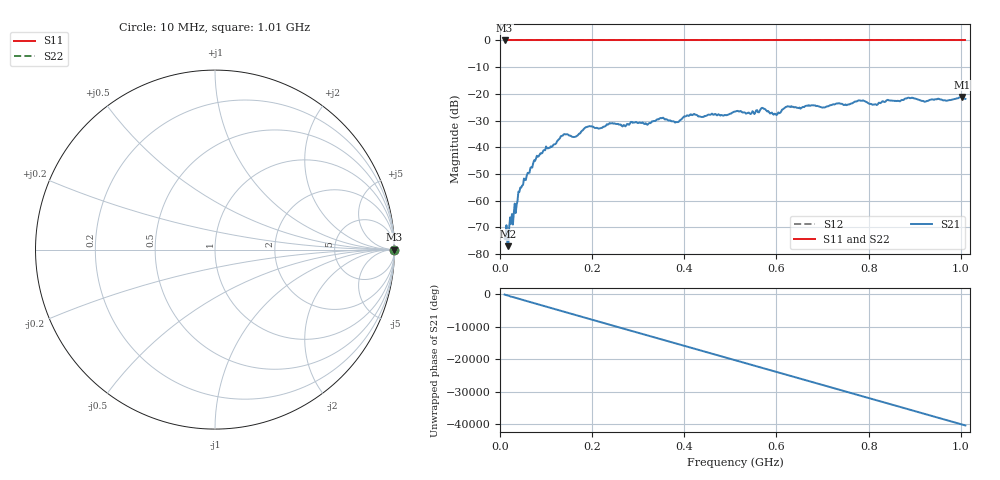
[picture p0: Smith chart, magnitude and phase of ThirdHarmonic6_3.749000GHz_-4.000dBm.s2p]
! 8/17/2025 12:51:07 PM
! C:\ANRITSUVNA\TEMP\TEMP.S2P
! CHANNEL.1
! TR.MEASUREMENT
! RAW.DATA
! RF.CORRECTION.OFF
! AVERAGING.OFF
! IF.BANDWIDTH: 5KHZ
! SWEEPTYPE:  FREQ.SWEEP(Linear)
! Reference Plane Port Info
! PORT:  PORT1  PORT2
! DISTANCE:  0  m  0  m
! TIME:  0  s  0  s
! PHASE.OFFSET:  0  deg.  0  deg.
! LOSS:  0  dB  0  dB
! REF.LOSS:  0  dB  0  dB
! REF.FREQ:  0  Hz  0  Hz
! Power Info
! POWER:  -20  dBm  -20  dBm
! EFF.POWER:  -20  dBm  -20  dBm
! SOURCE.ATTEN:  0  dB  0  dB
! TEST.ATTEN:  0  dB  0  dB
# GHZ S RI R 50.0
! FREQ.GHZ  S11RE  S11IM  S21RE  S21IM  S12RE  S12IM  S22RE  S22IM
!; PortSelection: Port_12
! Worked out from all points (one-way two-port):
!   501 points, 10 MHz to 1.01 GHz, reference 50 ohm
!   highest |S21| = -21.21 dB at 1.002 GHz (marker M1); lowest = -77.1 dB at 18 MHz (marker M2)
!   lowest |S11| = 0.0 dB at 10 MHz (marker M3)
!   |S11| at or under -10 dB: nowhere
!   |S22| runs from 0.0 to 0.0 dB; largest |S21 - S12| = 1.1
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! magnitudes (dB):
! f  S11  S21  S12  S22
! 10 MHz  0.0  -74.3  0.0  0.0
! 14 MHz  0.0  -69.3  0.0  0.0
! 18 MHz  0.0  -77.1  0.0  0.0
! 44 MHz  0.0  -55.2  0.0  0.0
! 78 MHz  0.0  -44.3  0.0  0.0
! 136 MHz  0.0  -35.7  0.0  0.0
! 162 MHz  0.0  -36.2  0.0  0.0
! 178 MHz  0.0  -33.9  0.0  0.0
! 194 MHz  0.0  -32.1  0.0  0.0
! 318 MHz  0.0  -31.3  0.0  0.0
! 344 MHz  0.0  -29.6  0.0  0.0
! 384 MHz  0.0  -30.6  0.0  0.0
! 416 MHz  0.0  -27.9  0.0  0.0
! 510 MHz  0.0  -26.7  0.0  0.0
! 570 MHz  0.0  -25.3  0.0  0.0
! 598 MHz  0.0  -27.5  0.0  0.0
! 624 MHz  0.0  -24.7  0.0  0.0
! 678 MHz  0.0  -24.3  0.0  0.0
! 814 MHz  0.0  -23.9  0.0  0.0
! 844 MHz  0.0  -22.5  0.0  0.0
! 1.002 GHz  0.0  -21.2  0.0  0.0
! 1.01 GHz  0.0  -21.9  0.0  0.0
